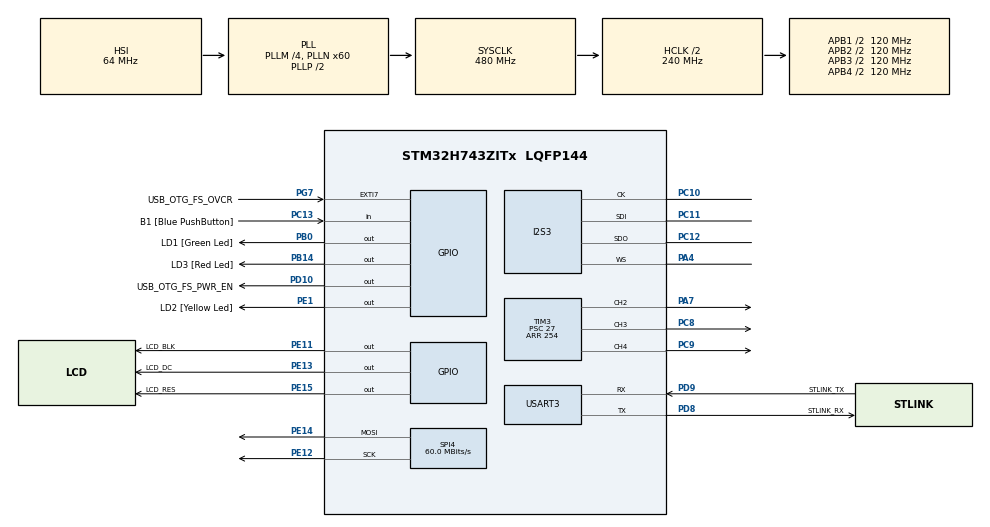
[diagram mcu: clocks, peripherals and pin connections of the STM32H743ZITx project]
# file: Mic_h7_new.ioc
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ARM.CMSIS.5.6.0.CMSISJjDSP=Library
Dma.Request0=SPI3_RX
Dma.Request1=SPI4_TX
Dma.SPI3_RX.0.Direction=DMA_PERIPH_TO_MEMORY
Dma.SPI3_RX.0.EventEnable=DISABLE
Dma.SPI3_RX.0.FIFOMode=DMA_FIFOMODE_DISABLE
Dma.SPI3_RX.0.Instance=DMA1_Stream0
Dma.SPI3_RX.0.MemDataAlignment=DMA_MDATAALIGN_WORD
Dma.SPI3_RX.0.MemInc=DMA_MINC_ENABLE
Dma.SPI3_RX.0.Mode=DMA_CIRCULAR
Dma.SPI3_RX.0.PeriphDataAlignment=DMA_PDATAALIGN_WORD
Dma.SPI3_RX.0.PeriphInc=DMA_PINC_DISABLE
Dma.SPI3_RX.0.Polarity=HAL_DMAMUX_REQ_GEN_RISING
Dma.SPI3_RX.0.Priority=DMA_PRIORITY_LOW
Dma.SPI3_RX.0.RequestNumber=1
Dma.SPI3_RX.0.SignalID=NONE
Dma.SPI3_RX.0.SyncEnable=DISABLE
Dma.SPI3_RX.0.SyncPolarity=HAL_DMAMUX_SYNC_NO_EVENT
Dma.SPI3_RX.0.SyncRequestNumber=1
Dma.SPI3_RX.0.SyncSignalID=NONE
Dma.SPI4_TX.1.Direction=DMA_MEMORY_TO_PERIPH
Dma.SPI4_TX.1.EventEnable=DISABLE
Dma.SPI4_TX.1.FIFOMode=DMA_FIFOMODE_DISABLE
Dma.SPI4_TX.1.Instance=DMA1_Stream1
Dma.SPI4_TX.1.MemDataAlignment=DMA_MDATAALIGN_BYTE
Dma.SPI4_TX.1.MemInc=DMA_MINC_ENABLE
Dma.SPI4_TX.1.Mode=DMA_NORMAL
Dma.SPI4_TX.1.PeriphDataAlignment=DMA_PDATAALIGN_BYTE
Dma.SPI4_TX.1.PeriphInc=DMA_PINC_DISABLE
Dma.SPI4_TX.1.Polarity=HAL_DMAMUX_REQ_GEN_RISING
Dma.SPI4_TX.1.Priority=DMA_PRIORITY_LOW
Dma.SPI4_TX.1.RequestNumber=1
Dma.SPI4_TX.1.SignalID=NONE
Dma.SPI4_TX.1.SyncEnable=DISABLE
Dma.SPI4_TX.1.SyncPolarity=HAL_DMAMUX_SYNC_NO_EVENT
Dma.SPI4_TX.1.SyncRequestNumber=1
Dma.SPI4_TX.1.SyncSignalID=NONE
I2S3.AudioFreq=I2S_AUDIOFREQ_48K
I2S3.Data24BitAlignment=I2S_DATA_24BIT_ALIGNMENT_LEFT
I2S3.DataFormat=I2S_DATAFORMAT_24B
I2S3.ErrorAudioFreq=0.15 %
I2S3.FullDuplexMode=I2S_MODE_MASTER_FD
I2S3.Instance=SPI$Index
I2S3.Mode=I2S_MODE_MASTER_RX
I2S3.RealAudioFreq=48.076 KHz
I2S3.Standard=I2S_STANDARD_PHILIPS
I2S3.VirtualMode=I2S_MODE_MASTER
Mcu.Family=STM32H7
Mcu.Name=STM32H743ZITx
Mcu.Package=LQFP144
NVIC.DMA1_Stream0_IRQn=true\:0\:0\:false\:false\:true\:false\:true
NVIC.DMA1_Stream1_IRQn=true\:0\:0\:false\:false\:true\:false\:true
NVIC.PriorityGroup=NVIC_PRIORITYGROUP_4
NVIC.SPI4_IRQn=true\:0\:0\:false\:false\:true\:false\:true
PA1.Signal=ETH_REF_CLK
PA11.Signal=USB_OTG_FS_DM
PA12.Signal=USB_OTG_FS_DP
PA2.Signal=ETH_MDIO
PA4.Mode=Full_Duplex_Master
PA4.Signal=I2S3_WS
PA7.Signal=S_TIM3_CH2
PA8.Signal=USB_OTG_FS_SOF
PA9.Signal=USB_OTG_FS_VBUS
PB0.GPIO_Label=LD1 [Green Led]
PB0.Signal=GPIO_Output
PB13.Signal=ETH_TXD1
PB14.GPIO_Label=LD3 [Red Led]
PB14.Signal=GPIO_Output
PC1.Signal=ETH_MDC
PC10.Mode=Full_Duplex_Master
PC10.Signal=I2S3_CK
PC11.Mode=Full_Duplex_Master
PC11.Signal=I2S3_SDI
PC12.Mode=Full_Duplex_Master
PC12.Signal=I2S3_SDO
PC13.GPIO_Label=B1 [Blue PushButton]
PC13.Signal=GPIO_Input
PC14-OSC32_IN\ (OSC32_IN).Signal=RCC_OSC32_IN
PC15-OSC32_OUT\ (OSC32_OUT).Signal=RCC_OSC32_OUT
PC4.Signal=ETH_RXD0
PC5.Signal=ETH_RXD1
PC8.Signal=S_TIM3_CH3
PC9.Signal=S_TIM3_CH4
PD10.GPIO_Label=USB_OTG_FS_PWR_EN
PD10.Signal=GPIO_Output
PD8.GPIO_Label=STLINK_RX
PD8.Mode=Asynchronous
PD8.Signal=USART3_TX
PD9.GPIO_Label=STLINK_TX
PD9.Mode=Asynchronous
PD9.Signal=USART3_RX
PE1.GPIO_Label=LD2 [Yellow Led]
PE1.Signal=GPIO_Output
PE11.GPIO_Label=LCD_BLK
PE11.Signal=GPIO_Output
PE12.GPIO_Speed=GPIO_SPEED_FREQ_MEDIUM
PE12.Mode=TX_Only_Simplex_Unidirect_Master
PE12.Signal=SPI4_SCK
PE13.GPIO_Label=LCD_DC
PE13.Signal=GPIO_Output
PE14.GPIO_Speed=GPIO_SPEED_FREQ_MEDIUM
PE14.Mode=TX_Only_Simplex_Unidirect_Master
PE14.Signal=SPI4_MOSI
PE15.GPIO_Label=LCD_RES
PE15.Signal=GPIO_Output
PG11.Signal=ETH_TX_EN
PG13.Signal=ETH_TXD0
PG7.GPIO_Label=USB_OTG_FS_OVCR
PG7.Signal=GPXTI7
PH0-OSC_IN\ (PH0).Mode=HSE-External-Oscillator
PH0-OSC_IN\ (PH0).Signal=RCC_OSC_IN
PH1-OSC_OUT\ (PH1).Mode=HSE-External-Oscillator
PH1-OSC_OUT\ (PH1).Signal=RCC_OSC_OUT
ProjectManager.HeapSize=0x200
ProjectManager.StackSize=0x400
ProjectManager.TargetToolchain=STM32CubeIDE
RCC.ADCFreq_Value=129000000
RCC.APB1Freq_Value=120000000
RCC.APB2Freq_Value=120000000
RCC.APB3Freq_Value=120000000
RCC.APB4Freq_Value=120000000
RCC.CortexFreq_Value=480000000
RCC.D1PPRE=RCC_APB3_DIV2
RCC.D2PPRE1=RCC_APB1_DIV2
RCC.D2PPRE2=RCC_APB2_DIV2
RCC.D3PPRE=RCC_APB4_DIV2
RCC.DIVM1=4
RCC.DIVN1=60
RCC.HCLKFreq_Value=240000000
RCC.HPRE=RCC_HCLK_DIV2
RCC.HSE_VALUE=8000000
RCC.PLL2FRACN=0
RCC.PLL3FRACN=0
RCC.PLLFRACN=0
RCC.SYSCLKFreq_VALUE=480000000
RCC.SYSCLKSource=RCC_SYSCLKSOURCE_PLLCLK
RCC.USBFreq_Value=480000000
SH.S_TIM3_CH2.0=TIM3_CH2,PWM Generation2 CH2
SH.S_TIM3_CH3.0=TIM3_CH3,PWM Generation3 CH3
SH.S_TIM3_CH4.0=TIM3_CH4,PWM Generation4 CH4
SPI4.BaudRatePrescaler=SPI_BAUDRATEPRESCALER_2
SPI4.CLKPhase=SPI_PHASE_2EDGE
SPI4.CLKPolarity=SPI_POLARITY_HIGH
SPI4.CalculateBaudRate=60.0 MBits/s
SPI4.DataSize=SPI_DATASIZE_8BIT
SPI4.Direction=SPI_DIRECTION_2LINES_TXONLY
SPI4.FifoThreshold=SPI_FIFO_THRESHOLD_01DATA
SPI4.Mode=SPI_MODE_MASTER
SPI4.VirtualType=VM_MASTER
TIM3.Channel-PWM\ Generation2\ CH2=TIM_CHANNEL_2
TIM3.Channel-PWM\ Generation3\ CH3=TIM_CHANNEL_3
TIM3.Channel-PWM\ Generation4\ CH4=TIM_CHANNEL_4
TIM3.Period=254
TIM3.Prescaler=27
TIM3.Pulse-PWM\ Generation2\ CH2=0
TIM3.Pulse-PWM\ Generation3\ CH3=0
TIM3.Pulse-PWM\ Generation4\ CH4=0
USART3.VirtualMode-Asynchronous=VM_ASYNC
VP_ARM.CMSIS_VS_CMSISJjDSP_1.7.0.Mode=CMSISJjDSP
board=NUCLEO-H743ZI2

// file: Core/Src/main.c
/* USER CODE BEGIN Header */
/**
 ******************************************************************************
 * @file           : main.c
 * @brief          : Main program body
 ******************************************************************************
 * @attention
 *
 * <h2><center>&copy; Copyright (c) 2020 STMicroelectronics.
 * All rights reserved.</center></h2>
 *
 * This software component is licensed by ST under BSD 3-Clause license,
 * the "License"; You may not use this file except in compliance with the
 * License. You may obtain a copy of the License at:
 *                        opensource.org/licenses/BSD-3-Clause
 *
 ******************************************************************************
 */
/* USER CODE END Header */
#include "main.h"
#include "dma.h"
#include "i2s.h"
#include "spi.h"
#include "tim.h"
#include "usart.h"
#include "gpio.h"

/* USER CODE BEGIN Includes */
arm_rfft_fast_instance_f32 S;
#include "sound_process.h"
#include "FIR.h"
#include "rgb_out.h"
/* USER CODE END Includes */

/* USER CODE BEGIN PTD */
LCD_str LCD1;
RGB_out_str RGB;

/* USER CODE END PTD */

void SystemClock_Config(void);
/* USER CODE BEGIN PFP */

void HAL_I2S_RxCpltCallback(I2S_HandleTypeDef *hi2s)
    {
    i2s_dma_full_Rx();
    }

void HAL_I2S_RxHalfCpltCallback(I2S_HandleTypeDef *hi2s)
    {
    i2s_dma_half_Rx();
    }
/* USER CODE END PFP */

int main(void)
    {

    /* MCU Configuration--------------------------------------------------------*/

    /* Reset of all peripherals, Initializes the Flash interface and the Systick. */
    HAL_Init();

    /* Configure the system clock */
    SystemClock_Config();

    /* USER CODE BEGIN SysInit */
    LCD1.LCD_blk_pin = LCD_BLK_Pin;
    LCD1.LCD_dc_pin = LCD_DC_Pin;
    LCD1.LCD_res_pin = LCD_RES_Pin;
    LCD1.LCD_blk_port = LCD_BLK_GPIO_Port;
    LCD1.LCD_dc_port = LCD_DC_GPIO_Port;
    LCD1.LCD_res_port = LCD_RES_GPIO_Port;
    LCD1.spi_str = &hspi4;

    RGB.r_chan = TIM_CHANNEL_3;
    RGB.g_chan = TIM_CHANNEL_2;
    RGB.b_chan = TIM_CHANNEL_4;
    RGB.tim_str = &htim3;
    /* USER CODE END SysInit */

    /* Initialize all configured peripherals */
    MX_GPIO_Init();
    MX_DMA_Init();
    MX_I2S3_Init();
    MX_USART3_UART_Init();
    MX_SPI4_Init();
    MX_TIM3_Init();
    /* USER CODE BEGIN 2 */
    RGB_init(&RGB);
    HAL_Delay(50);
    SIN_screan_gen();
    ST7789_Init(&LCD1);
    arm_rfft_fast_init_f32(&S, I2S_FFT_RESULT_BUF_LEN); //функция инициализации необходима для БФП
    HAL_I2S_Receive_DMA(&hi2s3, (u16*) PCM_rx_buf, I2S_INPUT_RAW_SEMPLS_NUM);
    ST7789_DrawPixel(4, 5, HSV_to_RGB565(200, 255, 255), &LCD1);
    /* USER CODE END 2 */

    /* Infinite loop */
    while (1)
	{

	}
    }

void SystemClock_Config(void)
    {
    RCC_OscInitTypeDef RCC_OscInitStruct =
	{
	0
	};
    RCC_ClkInitTypeDef RCC_ClkInitStruct =
	{
	0
	};
    RCC_PeriphCLKInitTypeDef PeriphClkInitStruct =
	{
	0
	};

    /** Supply configuration update enable
     */
    HAL_PWREx_ConfigSupply(PWR_LDO_SUPPLY);
    /** Configure the main internal regulator output voltage
     */
    __HAL_PWR_VOLTAGESCALING_CONFIG(PWR_REGULATOR_VOLTAGE_SCALE0);

    while (!__HAL_PWR_GET_FLAG(PWR_FLAG_VOSRDY))
	{
	}
    /** Initializes the RCC Oscillators according to the specified parameters
     * in the RCC_OscInitTypeDef structure.
     */
    RCC_OscInitStruct.OscillatorType = RCC_OSCILLATORTYPE_HSI;
    RCC_OscInitStruct.HSIState = RCC_HSI_DIV1;
    RCC_OscInitStruct.HSICalibrationValue = RCC_HSICALIBRATION_DEFAULT;
    RCC_OscInitStruct.PLL.PLLState = RCC_PLL_ON;
    RCC_OscInitStruct.PLL.PLLSource = RCC_PLLSOURCE_HSI;
    RCC_OscInitStruct.PLL.PLLM = 4;
    RCC_OscInitStruct.PLL.PLLN = 60;
    RCC_OscInitStruct.PLL.PLLP = 2;
    RCC_OscInitStruct.PLL.PLLQ = 2;
    RCC_OscInitStruct.PLL.PLLR = 2;
    RCC_OscInitStruct.PLL.PLLRGE = RCC_PLL1VCIRANGE_3;
    RCC_OscInitStruct.PLL.PLLVCOSEL = RCC_PLL1VCOWIDE;
    RCC_OscInitStruct.PLL.PLLFRACN = 0;
    if (HAL_RCC_OscConfig(&RCC_OscInitStruct) != HAL_OK)
	{
	Error_Handler();
	}
    /** Initializes the CPU, AHB and APB buses clocks
     */
    RCC_ClkInitStruct.ClockType = RCC_CLOCKTYPE_HCLK | RCC_CLOCKTYPE_SYSCLK
	    | RCC_CLOCKTYPE_PCLK1 | RCC_CLOCKTYPE_PCLK2 | RCC_CLOCKTYPE_D3PCLK1
	    | RCC_CLOCKTYPE_D1PCLK1;
    RCC_ClkInitStruct.SYSCLKSource = RCC_SYSCLKSOURCE_PLLCLK;
    RCC_ClkInitStruct.SYSCLKDivider = RCC_SYSCLK_DIV1;
    RCC_ClkInitStruct.AHBCLKDivider = RCC_HCLK_DIV2;
    RCC_ClkInitStruct.APB3CLKDivider = RCC_APB3_DIV2;
    RCC_ClkInitStruct.APB1CLKDivider = RCC_APB1_DIV2;
    RCC_ClkInitStruct.APB2CLKDivider = RCC_APB2_DIV2;
    RCC_ClkInitStruct.APB4CLKDivider = RCC_APB4_DIV2;

    if (HAL_RCC_ClockConfig(&RCC_ClkInitStruct, FLASH_LATENCY_4) != HAL_OK)
	{
	Error_Handler();
	}
    PeriphClkInitStruct.PeriphClockSelection = RCC_PERIPHCLK_USART3
	    | RCC_PERIPHCLK_SPI4 | RCC_PERIPHCLK_SPI3;
    PeriphClkInitStruct.Spi123ClockSelection = RCC_SPI123CLKSOURCE_PLL;
    PeriphClkInitStruct.Spi45ClockSelection = RCC_SPI45CLKSOURCE_D2PCLK1;
    PeriphClkInitStruct.Usart234578ClockSelection =
	    RCC_USART234578CLKSOURCE_D2PCLK1;
    if (HAL_RCCEx_PeriphCLKConfig(&PeriphClkInitStruct) != HAL_OK)
	{
	Error_Handler();
	}
    }

void Error_Handler(void)
    {
    }

/************************ (C) COPYRIGHT STMicroelectronics *****END OF FILE****/
